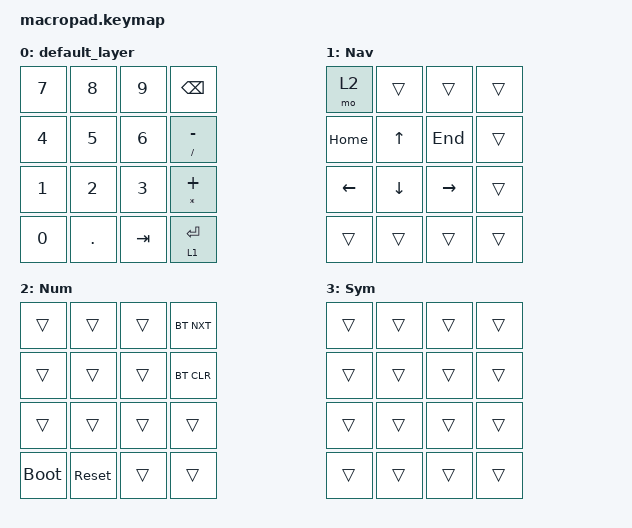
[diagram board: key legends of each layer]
/*
 * Copyright (c) 2022 The ZMK Contributors
 *
 * SPDX-License-Identifier: MIT
 */

#include <behaviors.dtsi>
#include <dt-bindings/zmk/keys.h>
#include <dt-bindings/zmk/bt.h>

#define DEF_L 0
#define NAV_L 1
#define NUM_L 2
#define SYM_L 3

// Using layer taps on thumbs, having quick tap as well helps w/ repeating space/backspace
&lt { quick-tap-ms = <200>; };

/ {
    behaviors {
        hm: homerow_mods {
            compatible = "zmk,behavior-hold-tap";
            #binding-cells = <2>;
            tapping-term-ms = <225>;
            flavor = "tap-preferred";
            bindings = <&kp>, <&kp>;
        };
    };

    combos {
        compatible = "zmk,combos";
        combo_z {
            timeout-ms = <50>;
            key-positions = <20 21>;
            bindings = <&kp Z>;
        };
        combo_b {
            timeout-ms = <50>;
            key-positions = <21 22>;
            bindings = <&kp B>;
        };

        combo_y {
            timeout-ms = <50>;
            key-positions = <23 24>;
            bindings = <&kp Y>;
        };

        combo_slash {
            timeout-ms = <50>;
            key-positions = <24 25>;
            bindings = <&kp SLASH>;
        };
    };

    keymap {
        compatible = "zmk,keymap";

        default_layer {
            bindings = <
                &kp N7  &kp N8   &kp N9   &kp BSPC
                &kp N4  &kp N5   &kp N6   &mt SLASH MINUS
                &kp N1  &kp N2   &kp N3   &mt STAR PLUS
                &kp N0  &kp DOT  &kp TAB  &lt 1 RET
            >;
        };

        nav_layer {
            display-name = "Nav";
            bindings = <
                &mo 2      &trans     &trans      &trans
                &kp HOME   &kp UP     &kp END     &trans
                &kp LEFT   &kp DOWN   &kp RIGHT   &trans
                &trans     &trans     &trans      &trans
            >;
        };

        num_layer {
            display-name = "Num";
            bindings = <
                &trans        &trans       &trans   &bt BT_NXT
                &trans        &trans       &trans   &bt BT_CLR
                &trans        &trans       &trans   &trans
                &bootloader   &sys_reset   &trans   &trans
            >;
        };

        sym_layer {
            display-name = "Sym";
            bindings = <
                &trans        &trans       &trans   &trans
                &trans        &trans       &trans   &trans
                &trans        &trans       &trans   &trans
                &trans        &trans       &trans   &trans
            >;
        };
    };
};
